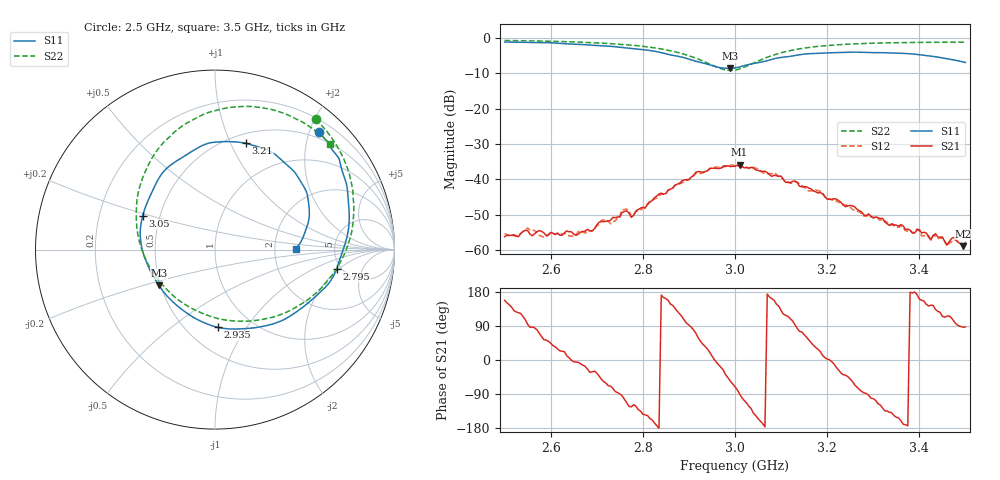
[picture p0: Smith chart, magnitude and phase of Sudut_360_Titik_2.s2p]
# Hz S RI R 50
! CMT, C1220, 16058040, 17.2.0/1
! Date: 15/08/2018 10:53:54
! Data: Format (Calibration Info)
! Freq  S11: Re/Im (F2)  S21: Re/Im (F2)  S12: Re/Im (F2)  S22: Re/Im (F2)
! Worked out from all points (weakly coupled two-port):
!   201 points, 2.5 GHz to 3.5 GHz, reference 50 ohm
!   highest |S21| = -35.87 dB at 3.01 GHz (marker M1); lowest = -58.8 dB at 3.495 GHz (marker M2)
!   lowest |S11| = -8.6 dB at 2.99 GHz (marker M3), VSWR 2.18, Z = 24.5 - j11.3 ohm
!   |S11| at or under -10 dB: nowhere
!   |S22| runs from -9.2 to -0.7 dB; largest |S21 - S12| = 0.0011
!   S11 on the Smith chart (normalised r, x): 2.5 GHz: 0.39, +2.17; 2.795 GHz: 4.60, -1.85; 2.935 GHz: 0.70, -0.75; 3.05 GHz: 0.40, +0.19; 3.21 GHz: 0.60, +1.15; 3.5 GHz: 2.63, +0.03
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2.5e9  0.5797 0.653  -0.00144 0.000596  -0.0016 0.000614  0.5608 0.7272
2.67e9  0.7392 0.317  0.00179 -0.00044  0.00169 -0.000602  0.7364 0.4569
2.73e9  0.7463 0.1381  0.000955 -0.00246  0.000674 -0.00227  0.7693 0.3051
2.755e9  0.7288 0.046  -0.000274 -0.0034  -5.91e-05 -0.00372  0.7736 0.2314
2.775e9  0.7071 -0.0224  -0.00162 -0.00242  -0.00181 -0.00242  0.7706 0.1651
2.795e9  0.6782 -0.1062  -0.00276 -0.00279  -0.00262 -0.00263  0.7608 0.0944
2.835e9  0.5794 -0.2438  -0.00621 -3.02e-06  -0.00589 -0.00015  0.7024 -0.0628
2.935e9  0.0162 -0.4332  0.0104 0.0076  0.0101 0.00805  0.2273 -0.3944
2.99e9  -0.3122 -0.1998  0.00847 -0.0126  0.00915 -0.013  -0.2112 -0.2761
3e9  -0.3509 -0.1376  0.00502 -0.0145  0.00433 -0.0148  -0.2764 -0.2144
3.01e9  -0.3819 -0.0696  1.83e-05 -0.0161  6.09e-05 -0.0154  -0.3338 -0.146
3.05e9  -0.4026 0.1896  -0.0121 -0.00577  -0.013 -0.00563  -0.4384 0.169
3.1e9  -0.261 0.4598  -0.00728 0.00844  -0.00671 0.00849  -0.3553 0.5026
3.17e9  0.0216 0.6003  0.00536 0.00435  0.00503 0.00475  -0.0939 0.7391
3.21e9  0.1734 0.5925  0.00521 -0.000408  0.00508 -0.000812  0.0509 0.7864
3.335e9  0.4674 0.3957  -0.00166 -0.00151  -0.00174 -0.00144  0.3882 0.7574
3.425e9  0.5242 0.1755  -0.00114 0.000809  -0.00113 0.000835  0.5452 0.6734
3.435e9  0.5196 0.1518  -0.00118 0.00124  -0.00106 0.00121  0.5599 0.6612
3.46e9  0.4983 0.0886  -0.000514 0.00108  -0.00043 0.00106  0.5945 0.6342
3.475e9  0.4837 0.0529  -0.000326 0.00148  -0.00034 0.00138  0.6123 0.617
3.495e9  0.4565 0.0137  6.83e-05 0.00115  0.000145 0.00121  0.6361 0.5929
3.5e9  0.4485 0.00419  6.71e-05 0.00128  0.00013 0.00114  0.6417 0.5872
